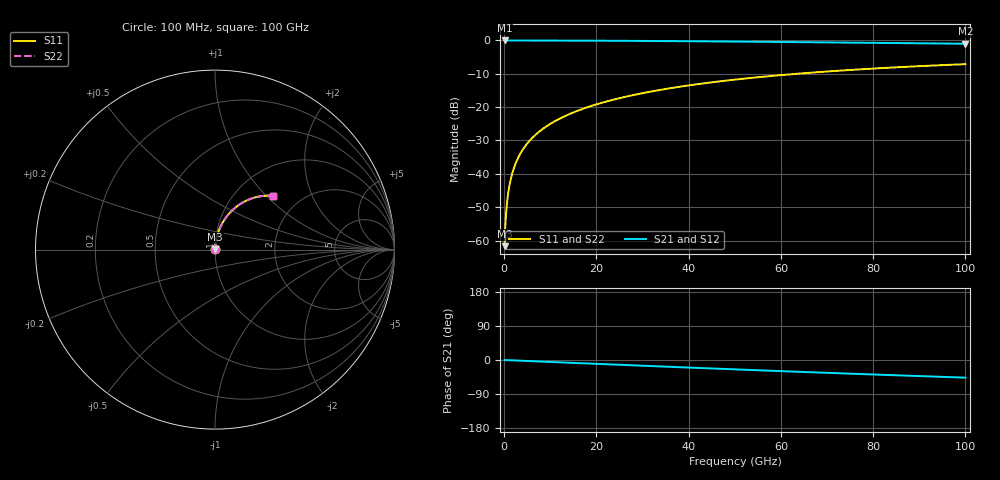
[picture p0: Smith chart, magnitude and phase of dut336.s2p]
! Touchstone file exported from HFSS 2026.1.0
!  File:  C:/ffzhzh/LocalFiles/Ansys_Project_Files/temp_train_RDL_336_1783502971_55944.aedt
!  Generated:  05:30:44 PM Jul  8, 2026
!  Design:  RDL
!  Project:  temp_train_RDL_336_1783502971_55944
! Variables:
!  h_bsmrdl = 2um
!  h_ox = 20um
!  h_rdl = 5um
!  h_sub = 80um
!  h_tmrdl = 4.45um
!  h_tsv = 80um
!  h_via = 3um
!  l_bsmrdl = 300um
!  l_sub = 504.47um
!  l_tmrdl = 104.47um
!  m_sub = 200um
!  pitch = 52.51um
!  r_tsv = 6um
!  s_tmrdl = 10um
!  w_bsmrdl = 18um
!  w_sub = 500um
!  w_tmrdl = 22.58um
!  x_tsv_center1 = 115.76um
!  x_tsv_center2 = 433.76um
!  x_tsv_center3 = 560.81um
!  x_tsv_center4 = 878.81um
!  x_tsv_center5 = 1005.86um
!  x_tsv_center6 = 1323.86um
# GHz S MA R 50.000000
! Terminal data exported
! Port[1] = TM_RDL1_1_T1
! Port[2] = TM_RDL1_1_T2
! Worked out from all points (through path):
!   1000 points, 100 MHz to 100 GHz, reference 50 ohm
!   highest |S21| = 0.00 dB at 100 MHz (marker M1); lowest = -1.0 dB at 100 GHz (marker M2)
!   group delay of S21, straight-line fit = 1.3 ps
!   lowest |S11| = -61.7 dB at 100 MHz (marker M3), VSWR 1.00, Z = 50.1 + j0.0619 ohm
!   |S11| at or under -10 dB: start of sweep to 63.43 GHz
!   |S22| runs from -61.7 to -7.1 dB; largest |S21 - S12| = 3.1e-15
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0.1  0.0008231 48.7  0.9995 -0.1  0.9995 -0.1  0.0008231 48.7
! Gamma 0 0 0 0
! Port Impedance 50 0 50 0
0.4  0.002451 75.1  0.9994 -0.2  0.9994 -0.2  0.002451 75.1
0.7  0.004139 80.5  0.9993 -0.4  0.9993 -0.4  0.004139 80.5
0.8  0.004706 81.5  0.9993 -0.4  0.9993 -0.4  0.004706 81.5
1.1  0.006416 83.3  0.9993 -0.6  0.9993 -0.6  0.006416 83.3
1.4  0.008131 84.2  0.9993 -0.7  0.9993 -0.7  0.008131 84.2
1.9  0.01099 85.0  0.9992 -1.0  0.9992 -1.0  0.01099 85.0
2.4  0.01384 85.3  0.9991 -1.3  0.9991 -1.3  0.01384 85.3
3.1  0.01782 85.4  0.9989 -1.6  0.9989 -1.6  0.01782 85.4
3.9  0.02234 85.3  0.9987 -2.0  0.9987 -2.0  0.02234 85.3
4.9  0.02794 85.0  0.9984 -2.5  0.9984 -2.5  0.02794 85.0
6  0.03407 84.6  0.998 -3.1  0.998 -3.1  0.03407 84.6
8.8  0.04951 83.4  0.997 -4.5  0.997 -4.5  0.04951 83.5
12.4  0.06916 81.9  0.9955 -6.4  0.9955 -6.4  0.06916 81.9
16.8  0.0929 79.9  0.9932 -8.6  0.9932 -8.6  0.0929 79.9
24.2  0.1321 76.4  0.9883 -12.3  0.9883 -12.3  0.1321 76.4
33.4  0.1792 72.1  0.9803 -16.8  0.9803 -16.8  0.1792 72.1
41.2  0.2175 68.4  0.9722 -20.6  0.9722 -20.6  0.2175 68.4
50.1  0.259 64.3  0.9617 -24.8  0.9617 -24.8  0.259 64.3
66.7  0.3293 56.8  0.9396 -32.4  0.9396 -32.4  0.3293 56.8
83.4  0.3903 49.6  0.9158 -39.7  0.9158 -39.7  0.3903 49.6
100  0.4407 42.8  0.8924 -46.6  0.8924 -46.6  0.4407 42.8
